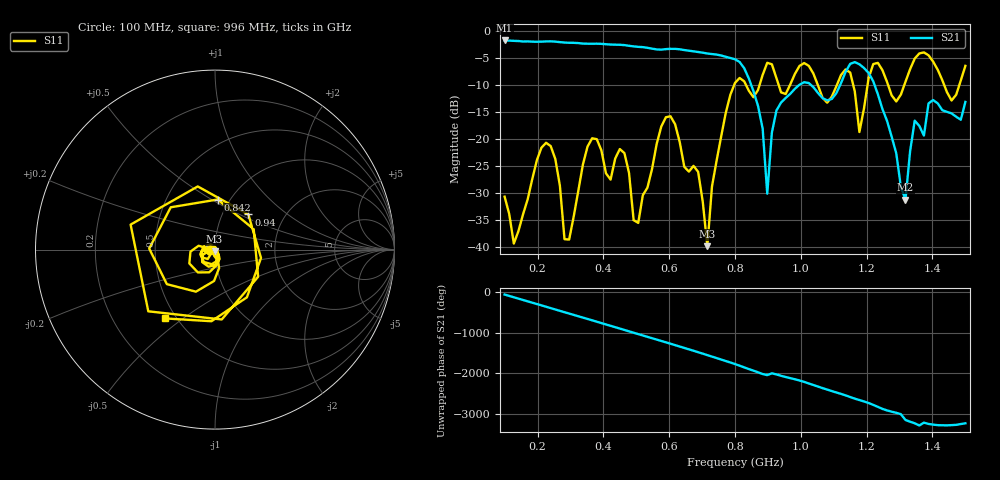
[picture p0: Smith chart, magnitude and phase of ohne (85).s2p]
! NanoVNA-App
! Date: 2025-09-26 09:56:03
! Start: 100MHz Stop: 1,5GHz Points: 101
! S-Parameter data: F S11 S21 S12 S22
# Hz S RI R 50
!  Frequency  S11_Real  S11_Imag  S21_Real  S21_Imag  S12_Real  S12_Imag  S22_Real  S22_Imag
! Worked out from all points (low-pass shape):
!   101 points, 100 MHz to 1.5 GHz, reference 50 ohm
!   highest |S21| = -1.79 dB at 100 MHz (marker M1); lowest = -31.2 dB at 1.318 GHz (marker M2)
!   |S21| within 3 dB of the highest: start of sweep to 771.2 MHz
!   lowest |S11| = -39.8 dB at 716 MHz (marker M3), VSWR 1.02, Z = 49.8 - j1 ohm
!   |S11| at or under -10 dB: start of sweep to 797.6 MHz; 833.3 MHz to 874.7 MHz (41.37 MHz wide, 4.84 % of centre); 1.052 GHz to 1.11 GHz (58.1 MHz wide, 5.38 % of centre)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
!   S12 and S22 are empty: the file has one direction only
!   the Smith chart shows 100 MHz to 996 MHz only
!   S11 on the Smith chart (normalised r, x): 100 MHz: 0.94, -0.01; 842 MHz: 0.88, +0.53; 940 MHz: 1.32, +0.56; 996 MHz: 0.44, -0.43
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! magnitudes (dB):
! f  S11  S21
! 100 MHz  -30.6  -1.8
! 128 MHz  -39.3  -1.9
! 226 MHz  -20.7  -2.0
! 296 MHz  -38.6  -2.2
! 338 MHz  -24.7  -2.4
! 464 MHz  -22.6  -2.6
! 506 MHz  -35.5  -3.0
! 576 MHz  -17.7  -3.5
! 688 MHz  -26.0  -3.9
! 716 MHz  -39.8  -4.2
! 800 MHz  -9.6  -5.3
! 842 MHz  -11.1  -8.8
! 898 MHz  -5.9  -30.1
! 940 MHz  -11.4  -13.2
! 996 MHz  -6.5  -10.0
! 1.038 GHz  -7.9  -10.4
! 1.178 GHz  -18.7  -6.2
! 1.22 GHz  -6.1  -9.3
! 1.276 GHz  -11.9  -19.6
! 1.318 GHz  -9.4  -31.2
! 1.346 GHz  -5.1  -16.6
! 1.5 GHz  -6.5  -13.1
